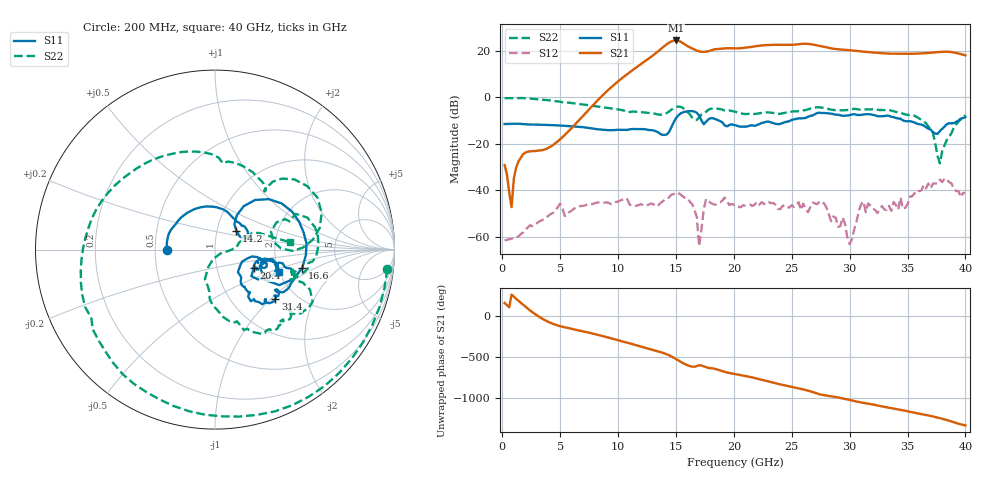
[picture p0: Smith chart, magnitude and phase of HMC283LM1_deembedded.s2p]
!Hittite Microwave Corporation
!12 Elizabeth Drive
!Chelmsford, MA 01824
!Tel: 978-250-3343
!Fax: 978-250-3373
!Device: HMC283LM1, 17-40 GHz SMT Medium Power GaAs MMIC Amplifier in Leadless Chip Carrier Package
!Misc: Vdd=+3.5V, Room
# MHZ S MA R 50
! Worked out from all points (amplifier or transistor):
!   200 points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, 200 MHz to 40 GHz, reference 50 ohm
!   highest |S21| = 24.6 dB at 15 GHz (marker M1)
!   |S21| within 3 dB of that: 21.18 GHz to 28.04 GHz (6.865 GHz wide, 27.9 % of centre) (the widest 1 of 2)
!   unconditionally stable (mu >= 1): start of sweep to end of sweep
!   at 6.8 GHz: K = 140.08, MAG = -5.5 dB, |S12| = -46.8 dB
!   at 20.2 GHz: K = 6.73, MAG = 22.7 dB, |S12| = -46.8 dB
!   at 40 GHz: K = 5.14, MAG = 19.5 dB, |S12| = -41.1 dB
!   S11 on the Smith chart (normalised r, x): 200 MHz: 0.58, -0.01; 14.2 GHz: 1.24, +0.27; 16.6 GHz: 2.75, -0.73; 20.4 GHz: 1.51, -0.33; 31.4 GHz: 1.57, -1.07; 40 GHz: 1.99, -0.59
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200  0.268 -179.0  0.035 153.1  0.0008317 -59.6  0.967 -6.5
7000  0.229 78.8  0.41 168.9  0.004632 45.0  0.708 165.9
11000  0.206 40.2  3.496 24.8  0.004868 -15.9  0.485 85.0
13600  0.168 22.2  10.6 -78.5  0.005147 -3.5  0.426 49.4
14200  0.159 41.7  14.04 -107.6  0.006448 -7.0  0.461 50.0
15000  0.356 51.0  16.96 -165.5  0.008878 -32.6  0.624 34.5
15600  0.479 26.2  14.9 145.4  0.007364 -57.4  0.596 11.7
16600  0.497 -11.6  10.83 101.3  0.003764 -94.3  0.329 7.6
17200  0.323 -31.4  9.662 115.5  0.00142 82.5  0.427 23.4
18600  0.325 -29.3  11.11 65.2  0.005249 -34.5  0.572 -0.1
20200  0.25 -25.8  11.46 9.4  0.004574 -59.7  0.487 -16.4
20400  0.24 -25.8  11.46 4.2  0.004429 -55.4  0.469 -17.3
21800  0.244 -15.6  12.66 -36.2  0.004876 -59.9  0.441 -15.9
23600  0.27 -19.4  13.68 -99.7  0.004851 -98.3  0.454 -21.5
25600  0.355 -13.9  14.06 -161.5  0.00552 -99.4  0.505 -20.7
26800  0.411 -14.4  13.88 154.1  0.005422 -114.3  0.591 -25.1
28800  0.427 -33.5  11.08 93.2  0.002541 -176.2  0.533 -39.3
31400  0.435 -39.3  9.612 18.2  0.00334 -136.8  0.554 -47.7
33400  0.403 -49.1  8.834 -35.7  0.004646 163.6  0.539 -60.8
35800  0.274 -52.1  8.819 -102.6  0.01 136.2  0.379 -83.0
38000  0.211 -10.4  9.651 -170.0  0.015 74.9  0.07 -7.1
40000  0.378 -19.5  8.091 109.0  0.008828 52.6  0.418 5.8
